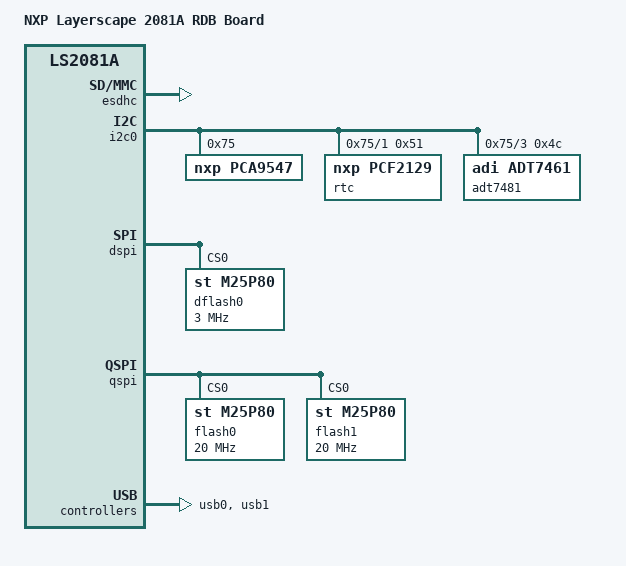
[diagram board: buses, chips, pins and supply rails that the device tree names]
/*
 * Device Tree file for NXP LS2081A RDB Board.
 *
 * Copyright 2017 NXP
 *
 * Priyanka Jain <priyanka.jain@nxp.com>
 *
 * This file is dual-licensed: you can use it either under the terms
 * of the GPLv2 or the X11 license, at your option. Note that this dual
 * licensing only applies to this file, and not this project as a
 * whole.
 *
 *  a) This library is free software; you can redistribute it and/or
 *     modify it under the terms of the GNU General Public License as
 *     published by the Free Software Foundation; either version 2 of the
 *     License, or (at your option) any later version.
 *
 *     This library is distributed in the hope that it will be useful,
 *     but WITHOUT ANY WARRANTY; without even the implied warranty of
 *     MERCHANTABILITY or FITNESS FOR A PARTICULAR PURPOSE.  See the
 *     GNU General Public License for more details.
 *
 * Or, alternatively,
 *
 *  b) Permission is hereby granted, free of charge, to any person
 *     obtaining a copy of this software and associated documentation
 *     files (the "Software"), to deal in the Software without
 *     restriction, including without limitation the rights to use,
 *     copy, modify, merge, publish, distribute, sublicense, and/or
 *     sell copies of the Software, and to permit persons to whom the
 *     Software is furnished to do so, subject to the following
 *     conditions:
 *
 *     The above copyright notice and this permission notice shall be
 *     included in all copies or substantial portions of the Software.
 *
 *     THE SOFTWARE IS PROVIDED "AS IS", WITHOUT WARRANTY OF ANY KIND,
 *     EXPRESS OR IMPLIED, INCLUDING BUT NOT LIMITED TO THE WARRANTIES
 *     OF MERCHANTABILITY, FITNESS FOR A PARTICULAR PURPOSE AND
 *     NONINFRINGEMENT. IN NO EVENT SHALL THE AUTHORS OR COPYRIGHT
 *     HOLDERS BE LIABLE FOR ANY CLAIM, DAMAGES OR OTHER LIABILITY,
 *     WHETHER IN AN ACTION OF CONTRACT, TORT OR OTHERWISE, ARISING
 *     FROM, OUT OF OR IN CONNECTION WITH THE SOFTWARE OR THE USE OR
 *     OTHER DEALINGS IN THE SOFTWARE.
 */

/dts-v1/;

#include "fsl-ls2088a.dtsi"

/ {
	model = "NXP Layerscape 2081A RDB Board";
	compatible = "fsl,ls2081a-rdb", "fsl,ls2081a";

	aliases {
		serial0 = &serial0;
		serial1 = &serial1;
	};

	chosen {
		stdout-path = "serial1:115200n8";
	};
};

&esdhc {
	status = "okay";
};

&ifc {
	status = "disabled";
};

&i2c0 {
	status = "okay";
	pca9547@75 {
		compatible = "nxp,pca9547";
		reg = <0x75>;
		#address-cells = <1>;
		#size-cells = <0>;
		i2c@1 {
			#address-cells = <1>;
			#size-cells = <0>;
			reg = <0x01>;
			rtc@51 {
				compatible = "nxp,pcf2129";
				reg = <0x51>;
			};
		};

		i2c@3 {
			#address-cells = <1>;
			#size-cells = <0>;
			reg = <0x3>;

			adt7481@4c {
				compatible = "adi,adt7461";
				reg = <0x4c>;
			};
		};
	};
};

&dspi {
	status = "okay";
	dflash0: n25q512a {
		#address-cells = <1>;
		#size-cells = <1>;
		compatible = "st,m25p80";
		spi-max-frequency = <3000000>;
		reg = <0>;
	};
};


&qspi {
	status = "okay";
	flash0: n25q512a@0 {
		#address-cells = <1>;
		#size-cells = <1>;
		compatible = "st,m25p80";
		spi-max-frequency = <20000000>;
		reg = <0>;
	};
	flash1: n25q512a@1 {
		#address-cells = <1>;
		#size-cells = <1>;
		compatible = "st,m25p80";
		spi-max-frequency = <20000000>;
		reg = <0>;
	};
};

&usb0 {
	status = "okay";
};

&usb1 {
	status = "okay";
};
